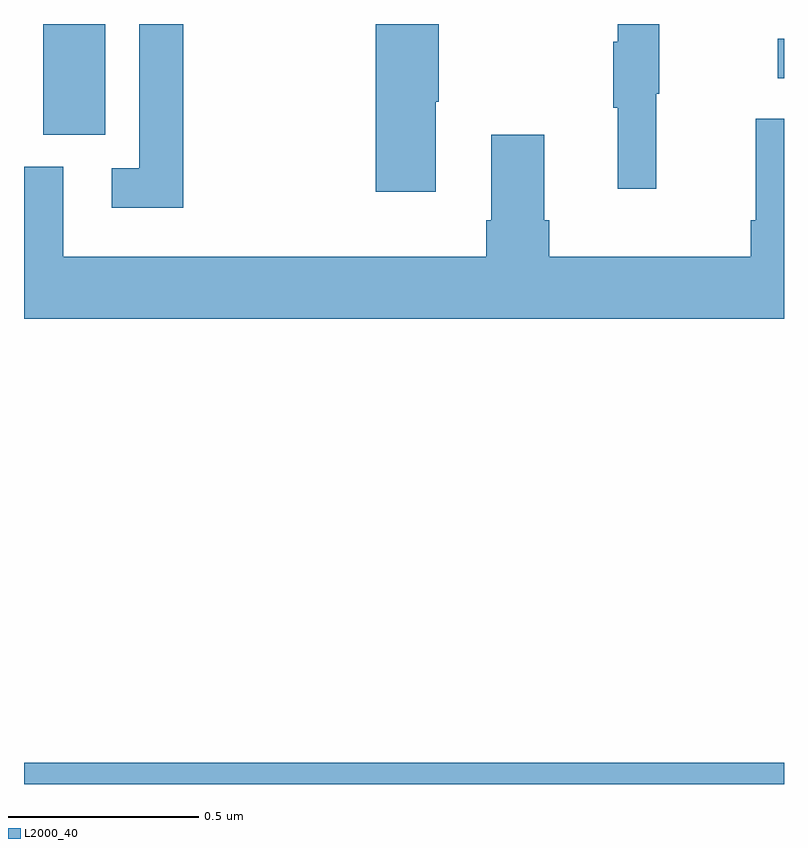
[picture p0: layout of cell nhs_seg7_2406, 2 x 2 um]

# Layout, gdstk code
import gdstk
lib = gdstk.Library(unit=1e-6, precision=1e-09)
def R(c, l, rs):  # rectangles x0, y0, x1, y1
    for r in rs: c.add(gdstk.rectangle(r[:2], r[2:], *l))
def P(c, l, *ps):  # polygons
    for p in ps: c.add(gdstk.Polygon(p, *l))
L2000_40 = (2000, 40)

nhs_seg7_2406 = lib.new_cell('nhs_seg7_2406')
R(nhs_seg7_2406, L2000_40, [(144,1058,146,1058.056), (144.05,1059.709,144.214,1060), (145.983,1059.857,146,1059.961)])
P(nhs_seg7_2406, L2000_40, [(144.419,1060),(144.303,1060),(144.303,1059.621),(144.231,1059.621),(144.231,1059.516),(144.419,1059.516)],
  [(145.664,1059.816),(145.672,1059.816),(145.672,1060),(145.562,1060),(145.562,1059.953),(145.551,1059.953),(145.551,1059.779),(145.562,1059.779),(145.562,1059.567),(145.664,1059.567)],
  [(145.084,1059.796),(145.092,1059.796),(145.092,1060),(144.926,1060),(144.926,1059.558),(145.084,1059.558)],
  [(146,1059.751),(145.925,1059.751),(145.925,1059.484),(145.913,1059.484),(145.913,1059.388),(145.382,1059.388),(145.382,1059.484),(145.369,1059.484),(145.369,1059.709),(145.229,1059.709),(145.229,1059.484),(145.217,1059.484),(145.217,1059.388),(144.103,1059.388),(144.103,1059.624),(144,1059.624),(144,1059.224),(146,1059.224)])

lib.write_gds('nhs_seg7_2406.gds')
